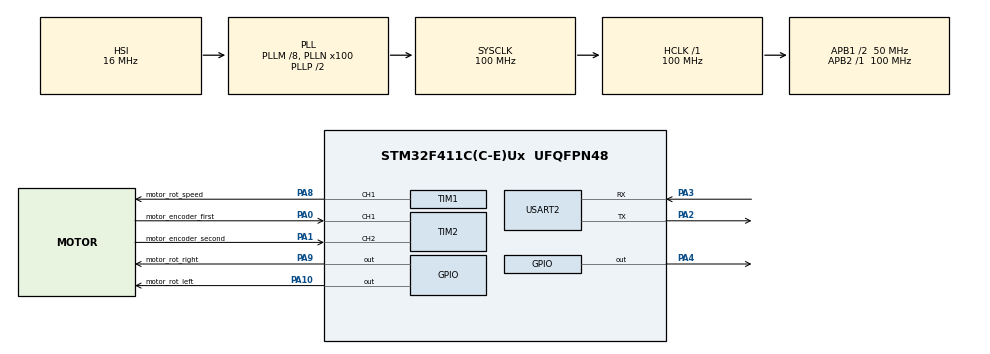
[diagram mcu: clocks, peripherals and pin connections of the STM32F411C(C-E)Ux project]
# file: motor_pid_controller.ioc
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ARM.CMSIS-DSP.1.16.2.CMSISJjDSP=Source
Mcu.Family=STM32F4
Mcu.Name=STM32F411C(C-E)Ux
Mcu.Package=UFQFPN48
NVIC.PriorityGroup=NVIC_PRIORITYGROUP_4
NVIC.TIM2_IRQn=true\:0\:0\:false\:false\:true\:true\:true\:true
NVIC.TIM3_IRQn=true\:5\:0\:true\:false\:true\:true\:true\:true
PA0-WKUP.GPIO_Label=motor_encoder_first
PA0-WKUP.Signal=S_TIM2_CH1_ETR
PA1.GPIO_Label=motor_encoder_second
PA1.Signal=S_TIM2_CH2
PA10.GPIO_Label=motor_rot_left
PA10.Signal=GPIO_Output
PA13.Mode=Serial_Wire
PA13.Signal=SYS_JTMS-SWDIO
PA14.Mode=Serial_Wire
PA14.Signal=SYS_JTCK-SWCLK
PA2.Mode=Asynchronous
PA2.Signal=USART2_TX
PA3.Mode=Asynchronous
PA3.Signal=USART2_RX
PA4.Signal=GPIO_Output
PA8.GPIO_Label=motor_rot_speed
PA8.Signal=S_TIM1_CH1
PA9.GPIO_Label=motor_rot_right
PA9.Signal=GPIO_Output
ProjectManager.HeapSize=0x200
ProjectManager.StackSize=0x400
ProjectManager.TargetToolchain=CMake
RCC.48MHZClocksFreq_Value=50000000
RCC.AHBFreq_Value=100000000
RCC.APB1CLKDivider=RCC_HCLK_DIV2
RCC.APB1Freq_Value=50000000
RCC.APB1TimFreq_Value=100000000
RCC.APB2Freq_Value=100000000
RCC.APB2TimFreq_Value=100000000
RCC.CortexFreq_Value=100000000
RCC.HCLKFreq_Value=100000000
RCC.HSE_VALUE=25000000
RCC.HSI_VALUE=16000000
RCC.LSE_VALUE=32768
RCC.PLLM=8
RCC.PLLN=100
RCC.SYSCLKFreq_VALUE=100000000
RCC.SYSCLKSource=RCC_SYSCLKSOURCE_PLLCLK
RCC.VCOOutputFreq_Value=200000000
SH.S_TIM1_CH1.0=TIM1_CH1,PWM Generation1 CH1
SH.S_TIM2_CH1_ETR.0=TIM2_CH1,Encoder_Interface
SH.S_TIM2_CH2.0=TIM2_CH2,Encoder_Interface
TIM1.Channel-PWM\ Generation1\ CH1=TIM_CHANNEL_1
TIM1.Period=4999
TIM1.Pulse-PWM\ Generation1\ CH1=49
TIM2.EncoderMode=TIM_ENCODERMODE_TI12
TIM2.IC1Filter=8
TIM2.IC2Filter=8
TIM3.AutoReloadPreload=TIM_AUTORELOAD_PRELOAD_ENABLE
TIM3.Period=49999
TIM3.Prescaler=9
USART2.VirtualMode=VM_ASYNC
VP_ARM.CMSIS-DSP_VS_CMSISJjDSP_1.16.2_1.16.2.Mode=CMSISJjDSP
VP_TIM3_VS_ClockSourceINT.Mode=Internal
board=custom

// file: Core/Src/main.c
/* USER CODE BEGIN Header */
/**
  ******************************************************************************
  * @file           : main.c
  * @brief          : Main program body
  ******************************************************************************
  * @attention
  *
  * Copyright (c) 2026 STMicroelectronics.
  * All rights reserved.
  *
  * This software is licensed under terms that can be found in the LICENSE file
  * in the root directory of this software component.
  * If no LICENSE file comes with this software, it is provided AS-IS.
  *
  ******************************************************************************
  */
/* USER CODE END Header */
#include "main.h"
#include "tim.h"
#include "usart.h"
#include "gpio.h"

/* USER CODE BEGIN Includes */
#include <stdlib.h>
#include <stdio.h>
#include <string.h>

#include "motor_controller.h"
#include "motor_encoder.h"
#include "motor_system.h"
/* USER CODE END Includes */

/* USER CODE BEGIN PV */
#define STEP_VALUE 100
#define BUF_SIZE 1024
#define SAMPLE_TIME 5

/* USER CODE END PV */

void SystemClock_Config(void);

/* USER CODE BEGIN 0 */
char msg[64];

volatile uint32_t time_ms = 0;
volatile uint16_t rpm_index = 0;
volatile float32_t rpm_buffer[BUF_SIZE];

motor_encoder_t* motor_encoder;
motor_controller_t* motor_ctrl;
motor_system_t* motor_sys;

void HAL_TIM_PeriodElapsedCallback(TIM_HandleTypeDef* htim)
{
	if(htim == &htim3)
	{
		float32_t rpm = motor_encoder_rpm_callback(motor_encoder, SAMPLE_TIME);
		rpm_buffer[rpm_index++] = rpm;
		if(rpm_index >= BUF_SIZE) rpm_index = 0;
		time_ms+=SAMPLE_TIME;

		float32_t pid_out = arm_pid_f32(&(motor_sys->PID), motor_sys->targeted_rpm - rpm);
        int32_t value = CONTROLLER_MIN_ROT_VALUE + (int32_t)pid_out;
        motor_controller_set_value(motor_sys->controller, value);
	}
}

/* USER CODE END 0 */

int main(void)
{

  /* USER CODE BEGIN 1 */
	  motor_ctrl = malloc(sizeof(motor_controller_t));
	  motor_encoder = malloc(sizeof(motor_encoder_t));
	  motor_sys = malloc(sizeof(motor_system_t));
  /* USER CODE END 1 */

  /* MCU Configuration--------------------------------------------------------*/

  /* Reset of all peripherals, Initializes the Flash interface and the Systick. */
  HAL_Init();

  /* Configure the system clock */
  SystemClock_Config();

  /* Initialize all configured peripherals */
  MX_GPIO_Init();
  MX_TIM1_Init();
  MX_TIM2_Init();
  MX_TIM3_Init();
  MX_USART2_UART_Init();
  /* USER CODE BEGIN 2 */

  // MEMORY ALLOC

  uint16_t send_index = 0;

  // INITIALIZATION FUN.
  motor_controller_init(motor_ctrl, &htim1, TIM_CHANNEL_1, motor_rot_right_GPIO_Port,
		  motor_rot_right_Pin, motor_rot_left_GPIO_Port, motor_rot_left_Pin);
  motor_encoder_init(motor_encoder, &htim2, 44, 45);
  motor_system_init(motor_sys, motor_ctrl, motor_encoder);

  //DIRECTION
  motor_controller_set_direction(motor_ctrl, RIGHT);
  HAL_Delay(1000);
  HAL_TIM_Base_Start_IT(&htim3);
  motor_sys->targeted_rpm = 100;

  /* USER CODE END 2 */

  /* Infinite loop */
  /* USER CODE BEGIN WHILE */
  while (1)
  {

	if(send_index != rpm_index)
	{
		char msg[64];
		snprintf(msg, sizeof(msg), "%lu ms: %.2f RPM\r\n", time_ms, rpm_buffer[send_index++]);
		HAL_UART_Transmit(&huart2, (uint8_t*)msg, strlen(msg), HAL_MAX_DELAY);
		if(send_index >= BUF_SIZE) send_index = 0;
	}
    /* USER CODE END WHILE */

  }
}

void SystemClock_Config(void)
{
  RCC_OscInitTypeDef RCC_OscInitStruct = {0};
  RCC_ClkInitTypeDef RCC_ClkInitStruct = {0};

  /** Configure the main internal regulator output voltage
  */
  __HAL_RCC_PWR_CLK_ENABLE();
  __HAL_PWR_VOLTAGESCALING_CONFIG(PWR_REGULATOR_VOLTAGE_SCALE1);

  /** Initializes the RCC Oscillators according to the specified parameters
  * in the RCC_OscInitTypeDef structure.
  */
  RCC_OscInitStruct.OscillatorType = RCC_OSCILLATORTYPE_HSI;
  RCC_OscInitStruct.HSIState = RCC_HSI_ON;
  RCC_OscInitStruct.HSICalibrationValue = RCC_HSICALIBRATION_DEFAULT;
  RCC_OscInitStruct.PLL.PLLState = RCC_PLL_ON;
  RCC_OscInitStruct.PLL.PLLSource = RCC_PLLSOURCE_HSI;
  RCC_OscInitStruct.PLL.PLLM = 8;
  RCC_OscInitStruct.PLL.PLLN = 100;
  RCC_OscInitStruct.PLL.PLLP = RCC_PLLP_DIV2;
  RCC_OscInitStruct.PLL.PLLQ = 4;
  if (HAL_RCC_OscConfig(&RCC_OscInitStruct) != HAL_OK)
  {
    Error_Handler();
  }

  /** Initializes the CPU, AHB and APB buses clocks
  */
  RCC_ClkInitStruct.ClockType = RCC_CLOCKTYPE_HCLK|RCC_CLOCKTYPE_SYSCLK
                              |RCC_CLOCKTYPE_PCLK1|RCC_CLOCKTYPE_PCLK2;
  RCC_ClkInitStruct.SYSCLKSource = RCC_SYSCLKSOURCE_PLLCLK;
  RCC_ClkInitStruct.AHBCLKDivider = RCC_SYSCLK_DIV1;
  RCC_ClkInitStruct.APB1CLKDivider = RCC_HCLK_DIV2;
  RCC_ClkInitStruct.APB2CLKDivider = RCC_HCLK_DIV1;

  if (HAL_RCC_ClockConfig(&RCC_ClkInitStruct, FLASH_LATENCY_3) != HAL_OK)
  {
    Error_Handler();
  }
}

void Error_Handler(void)
{
  __disable_irq();
  while (1)
  {
  }
}
